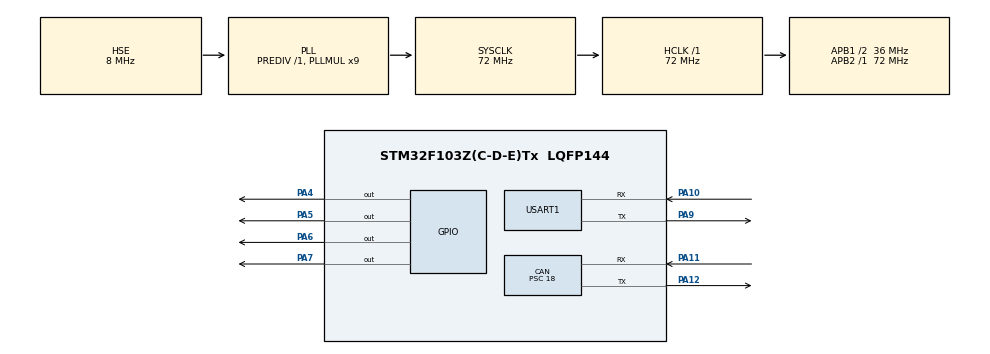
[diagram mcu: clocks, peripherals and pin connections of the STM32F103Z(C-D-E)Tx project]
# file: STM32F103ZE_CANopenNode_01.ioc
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CAN.BS1=CAN_BS1_13TQ
CAN.BS2=CAN_BS2_2TQ
CAN.CalculateBaudRate=125000
CAN.CalculateTimeBit=8000
CAN.CalculateTimeQuantum=500.0
CAN.Prescaler=18
Dma.Request0=USART1_RX
Dma.Request1=USART1_TX
Dma.USART1_RX.0.Direction=DMA_PERIPH_TO_MEMORY
Dma.USART1_RX.0.Instance=DMA1_Channel5
Dma.USART1_RX.0.MemDataAlignment=DMA_MDATAALIGN_BYTE
Dma.USART1_RX.0.MemInc=DMA_MINC_ENABLE
Dma.USART1_RX.0.Mode=DMA_NORMAL
Dma.USART1_RX.0.PeriphDataAlignment=DMA_PDATAALIGN_BYTE
Dma.USART1_RX.0.PeriphInc=DMA_PINC_DISABLE
Dma.USART1_RX.0.Priority=DMA_PRIORITY_LOW
Dma.USART1_TX.1.Direction=DMA_MEMORY_TO_PERIPH
Dma.USART1_TX.1.Instance=DMA1_Channel4
Dma.USART1_TX.1.MemDataAlignment=DMA_MDATAALIGN_BYTE
Dma.USART1_TX.1.MemInc=DMA_MINC_ENABLE
Dma.USART1_TX.1.Mode=DMA_NORMAL
Dma.USART1_TX.1.PeriphDataAlignment=DMA_PDATAALIGN_BYTE
Dma.USART1_TX.1.PeriphInc=DMA_PINC_DISABLE
Dma.USART1_TX.1.Priority=DMA_PRIORITY_LOW
Mcu.Family=STM32F1
Mcu.Name=STM32F103Z(C-D-E)Tx
Mcu.Package=LQFP144
NVIC.CAN1_RX1_IRQn=true\:0\:0\:false\:false\:true\:true\:true\:true
NVIC.CAN1_SCE_IRQn=true\:0\:0\:false\:false\:true\:true\:true\:true
NVIC.DMA1_Channel4_IRQn=true\:0\:0\:false\:false\:true\:false\:true\:true
NVIC.DMA1_Channel5_IRQn=true\:0\:0\:false\:false\:true\:false\:true\:true
NVIC.PriorityGroup=NVIC_PRIORITYGROUP_4
NVIC.TIM2_IRQn=true\:0\:0\:false\:false\:true\:true\:true\:true
NVIC.TIM3_IRQn=true\:15\:0\:false\:false\:true\:false\:true\:true
NVIC.TimeBase=TIM3_IRQn
NVIC.TimeBaseIP=TIM3
NVIC.USART1_IRQn=true\:0\:0\:false\:false\:true\:true\:true\:true
NVIC.USB_HP_CAN1_TX_IRQn=true\:0\:0\:false\:false\:true\:true\:true\:true
NVIC.USB_LP_CAN1_RX0_IRQn=true\:0\:0\:false\:false\:true\:true\:true\:true
OSC_IN.Mode=HSE-External-Oscillator
OSC_IN.Signal=RCC_OSC_IN
OSC_OUT.Mode=HSE-External-Oscillator
OSC_OUT.Signal=RCC_OSC_OUT
PA10.Mode=Asynchronous
PA10.Signal=USART1_RX
PA11.Mode=CAN_Activate
PA11.Signal=CAN_RX
PA12.Mode=CAN_Activate
PA12.Signal=CAN_TX
PA4.Signal=GPIO_Output
PA5.Signal=GPIO_Output
PA6.Signal=GPIO_Output
PA7.Signal=GPIO_Output
PA9.Mode=Asynchronous
PA9.Signal=USART1_TX
PC14-OSC32_IN.Mode=LSE-External-Oscillator
PC14-OSC32_IN.Signal=RCC_OSC32_IN
PC15-OSC32_OUT.Mode=LSE-External-Oscillator
PC15-OSC32_OUT.Signal=RCC_OSC32_OUT
ProjectManager.HeapSize=0x200
ProjectManager.StackSize=0x400
ProjectManager.TargetToolchain=STM32CubeIDE
RCC.AHBFreq_Value=72000000
RCC.APB1CLKDivider=RCC_HCLK_DIV2
RCC.APB1Freq_Value=36000000
RCC.APB1TimFreq_Value=72000000
RCC.APB2Freq_Value=72000000
RCC.APB2TimFreq_Value=72000000
RCC.HCLKFreq_Value=72000000
RCC.PLLMUL=RCC_PLL_MUL9
RCC.PLLSourceVirtual=RCC_PLLSOURCE_HSE
RCC.RTCClockSelection=RCC_RTCCLKSOURCE_LSE
RCC.SYSCLKFreq_VALUE=72000000
RCC.SYSCLKSource=RCC_SYSCLKSOURCE_PLLCLK
RCC.USBFreq_Value=72000000
TIM2.Period=1000-1
TIM2.Prescaler=72-1
USART1.VirtualMode=VM_ASYNC
VP_RTC_VS_RTC_Activate.Mode=RTC_Enabled
VP_SYS_VS_tim3.Mode=TIM3
VP_TIM2_VS_ClockSourceINT.Mode=Internal
board=custom

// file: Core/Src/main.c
/* USER CODE BEGIN Header */
/**
  ******************************************************************************
  * @file           : main.c
  * @brief          : Main program body
  ******************************************************************************
  * @attention
  *
  * Copyright (c) 2023 STMicroelectronics.
  * All rights reserved.
  *
  * This software is licensed under terms that can be found in the LICENSE file
  * in the root directory of this software component.
  * If no LICENSE file comes with this software, it is provided AS-IS.
  *
  ******************************************************************************
  */
/* USER CODE END Header */
#include "main.h"

/* USER CODE BEGIN Includes */
#include "dma_printf.h"
#include "dma_scanf.h"
#include "log.h"

#include "CO_app_STM32.h"
#include "OD.h"
/* USER CODE END Includes */

CAN_HandleTypeDef hcan;

RTC_HandleTypeDef hrtc;

TIM_HandleTypeDef htim2;

UART_HandleTypeDef huart1;
DMA_HandleTypeDef hdma_usart1_rx;
DMA_HandleTypeDef hdma_usart1_tx;

uint8_t flag;
extern OD_PERSIST_COMM_t OD_PERSIST_COMM;

void SystemClock_Config(void);
static void MX_GPIO_Init(void);
static void MX_DMA_Init(void);
static void MX_RTC_Init(void);
static void MX_USART1_UART_Init(void);
static void MX_TIM2_Init(void);
static void MX_CAN_Init(void);

/* USER CODE BEGIN 0 */
int __io_putchar(int ch)
{
  dma_printf_putc(ch&0xFF);
  return ch;
}

int __io_getchar(void)
{
  return dma_scanf_getc_blocking();
}

void HAL_UART_RxCpltCallback(UART_HandleTypeDef *huart){

}

void HAL_UART_TxCpltCallback(UART_HandleTypeDef *huart){
  dma_printf_send_it(huart);
}

/**
  * @brief  Period elapsed callback in non blocking mode
  * @note   This function is called  when TIM2 interrupt took place, inside
  * HAL_TIM_IRQHandler(). It makes a direct call to HAL_IncTick() to increment
  * a global variable "uwTick" used as application time base.
  * @param  htim : TIM handle
  * @retval None
  */

void loop(CANopenNodeSTM32 canOpenNodeSTM32)
{
	static uint32_t count;
	if (flag == 1)
	{
		flag = 0;
		log_info("Count = %lu\r", count++);
		HAL_GPIO_TogglePin(GPIOA, GPIO_PIN_4);
		OD_PERSIST_COMM.x6000_velocity = count;
	}
//	HAL_Delay(100);

	canopen_app_process();
	HAL_GPIO_WritePin(GPIOA, GPIO_PIN_6, !canOpenNodeSTM32.outStatusLEDGreen);
	HAL_GPIO_WritePin(GPIOA, GPIO_PIN_7, !canOpenNodeSTM32.outStatusLEDRed);
}
/* USER CODE END 0 */

int main(void)
{

  /* MCU Configuration--------------------------------------------------------*/

  /* Reset of all peripherals, Initializes the Flash interface and the Systick. */
  HAL_Init();

  /* Configure the system clock */
  SystemClock_Config();

  /* Initialize all configured peripherals */
  MX_GPIO_Init();
  MX_DMA_Init();
  MX_RTC_Init();
  MX_USART1_UART_Init();
  MX_TIM2_Init();
  MX_CAN_Init();
  /* USER CODE BEGIN 2 */
  setbuf(stdin, NULL);
  setbuf(stdout, NULL);
  setbuf(stderr, NULL);
  dma_printf_init(&huart1);
  dma_scanf_init(&huart1);
  HAL_TIM_Base_Start_IT(&htim2);

  CANopenNodeSTM32 canOpenNodeSTM32;
  canOpenNodeSTM32.CANHandle = &hcan;
  canOpenNodeSTM32.HWInitFunction = MX_CAN_Init;
  canOpenNodeSTM32.timerHandle = &htim2;
  canOpenNodeSTM32.desiredNodeID = 01;
  canOpenNodeSTM32.baudrate = 125;
  canopen_app_init(&canOpenNodeSTM32);

  /* USER CODE END 2 */

  /* Infinite loop */
  /* USER CODE BEGIN WHILE */
  while (1)
  {
	loop(canOpenNodeSTM32);
    /* USER CODE END WHILE */

  }
}

void SystemClock_Config(void)
{
  RCC_OscInitTypeDef RCC_OscInitStruct = {0};
  RCC_ClkInitTypeDef RCC_ClkInitStruct = {0};
  RCC_PeriphCLKInitTypeDef PeriphClkInit = {0};

  /** Initializes the RCC Oscillators according to the specified parameters
  * in the RCC_OscInitTypeDef structure.
  */
  RCC_OscInitStruct.OscillatorType = RCC_OSCILLATORTYPE_HSE|RCC_OSCILLATORTYPE_LSE;
  RCC_OscInitStruct.HSEState = RCC_HSE_ON;
  RCC_OscInitStruct.HSEPredivValue = RCC_HSE_PREDIV_DIV1;
  RCC_OscInitStruct.LSEState = RCC_LSE_ON;
  RCC_OscInitStruct.HSIState = RCC_HSI_ON;
  RCC_OscInitStruct.PLL.PLLState = RCC_PLL_ON;
  RCC_OscInitStruct.PLL.PLLSource = RCC_PLLSOURCE_HSE;
  RCC_OscInitStruct.PLL.PLLMUL = RCC_PLL_MUL9;
  if (HAL_RCC_OscConfig(&RCC_OscInitStruct) != HAL_OK)
  {
    Error_Handler();
  }

  /** Initializes the CPU, AHB and APB buses clocks
  */
  RCC_ClkInitStruct.ClockType = RCC_CLOCKTYPE_HCLK|RCC_CLOCKTYPE_SYSCLK
                              |RCC_CLOCKTYPE_PCLK1|RCC_CLOCKTYPE_PCLK2;
  RCC_ClkInitStruct.SYSCLKSource = RCC_SYSCLKSOURCE_PLLCLK;
  RCC_ClkInitStruct.AHBCLKDivider = RCC_SYSCLK_DIV1;
  RCC_ClkInitStruct.APB1CLKDivider = RCC_HCLK_DIV2;
  RCC_ClkInitStruct.APB2CLKDivider = RCC_HCLK_DIV1;

  if (HAL_RCC_ClockConfig(&RCC_ClkInitStruct, FLASH_LATENCY_2) != HAL_OK)
  {
    Error_Handler();
  }
  PeriphClkInit.PeriphClockSelection = RCC_PERIPHCLK_RTC;
  PeriphClkInit.RTCClockSelection = RCC_RTCCLKSOURCE_LSE;
  if (HAL_RCCEx_PeriphCLKConfig(&PeriphClkInit) != HAL_OK)
  {
    Error_Handler();
  }
}

static void MX_CAN_Init(void)
{

  hcan.Instance = CAN1;
  hcan.Init.Prescaler = 18;
  hcan.Init.Mode = CAN_MODE_NORMAL;
  hcan.Init.SyncJumpWidth = CAN_SJW_1TQ;
  hcan.Init.TimeSeg1 = CAN_BS1_13TQ;
  hcan.Init.TimeSeg2 = CAN_BS2_2TQ;
  hcan.Init.TimeTriggeredMode = DISABLE;
  hcan.Init.AutoBusOff = DISABLE;
  hcan.Init.AutoWakeUp = DISABLE;
  hcan.Init.AutoRetransmission = DISABLE;
  hcan.Init.ReceiveFifoLocked = DISABLE;
  hcan.Init.TransmitFifoPriority = DISABLE;
  if (HAL_CAN_Init(&hcan) != HAL_OK)
  {
    Error_Handler();
  }

}

static void MX_RTC_Init(void)
{

  /** Initialize RTC Only
  */
  hrtc.Instance = RTC;
  hrtc.Init.AsynchPrediv = RTC_AUTO_1_SECOND;
  hrtc.Init.OutPut = RTC_OUTPUTSOURCE_ALARM;
  if (HAL_RTC_Init(&hrtc) != HAL_OK)
  {
    Error_Handler();
  }

}

static void MX_TIM2_Init(void)
{

  TIM_ClockConfigTypeDef sClockSourceConfig = {0};
  TIM_MasterConfigTypeDef sMasterConfig = {0};

  htim2.Instance = TIM2;
  htim2.Init.Prescaler = 72-1;
  htim2.Init.CounterMode = TIM_COUNTERMODE_UP;
  htim2.Init.Period = 1000-1;
  htim2.Init.ClockDivision = TIM_CLOCKDIVISION_DIV1;
  htim2.Init.AutoReloadPreload = TIM_AUTORELOAD_PRELOAD_DISABLE;
  if (HAL_TIM_Base_Init(&htim2) != HAL_OK)
  {
    Error_Handler();
  }
  sClockSourceConfig.ClockSource = TIM_CLOCKSOURCE_INTERNAL;
  if (HAL_TIM_ConfigClockSource(&htim2, &sClockSourceConfig) != HAL_OK)
  {
    Error_Handler();
  }
  sMasterConfig.MasterOutputTrigger = TIM_TRGO_RESET;
  sMasterConfig.MasterSlaveMode = TIM_MASTERSLAVEMODE_DISABLE;
  if (HAL_TIMEx_MasterConfigSynchronization(&htim2, &sMasterConfig) != HAL_OK)
  {
    Error_Handler();
  }

}

static void MX_USART1_UART_Init(void)
{

  huart1.Instance = USART1;
  huart1.Init.BaudRate = 115200;
  huart1.Init.WordLength = UART_WORDLENGTH_8B;
  huart1.Init.StopBits = UART_STOPBITS_1;
  huart1.Init.Parity = UART_PARITY_NONE;
  huart1.Init.Mode = UART_MODE_TX_RX;
  huart1.Init.HwFlowCtl = UART_HWCONTROL_NONE;
  huart1.Init.OverSampling = UART_OVERSAMPLING_16;
  if (HAL_UART_Init(&huart1) != HAL_OK)
  {
    Error_Handler();
  }

}

static void MX_DMA_Init(void)
{

  /* DMA controller clock enable */
  __HAL_RCC_DMA1_CLK_ENABLE();

  /* DMA interrupt init */
  /* DMA1_Channel4_IRQn interrupt configuration */
  HAL_NVIC_SetPriority(DMA1_Channel4_IRQn, 0, 0);
  HAL_NVIC_EnableIRQ(DMA1_Channel4_IRQn);
  /* DMA1_Channel5_IRQn interrupt configuration */
  HAL_NVIC_SetPriority(DMA1_Channel5_IRQn, 0, 0);
  HAL_NVIC_EnableIRQ(DMA1_Channel5_IRQn);

}

static void MX_GPIO_Init(void)
{
  GPIO_InitTypeDef GPIO_InitStruct = {0};

  /* GPIO Ports Clock Enable */
  __HAL_RCC_GPIOC_CLK_ENABLE();
  __HAL_RCC_GPIOA_CLK_ENABLE();

  /*Configure GPIO pin Output Level */
  HAL_GPIO_WritePin(GPIOA, GPIO_PIN_4|GPIO_PIN_5|GPIO_PIN_6|GPIO_PIN_7, GPIO_PIN_RESET);

  /*Configure GPIO pins : PA4 PA5 PA6 PA7 */
  GPIO_InitStruct.Pin = GPIO_PIN_4|GPIO_PIN_5|GPIO_PIN_6|GPIO_PIN_7;
  GPIO_InitStruct.Mode = GPIO_MODE_OUTPUT_PP;
  GPIO_InitStruct.Pull = GPIO_NOPULL;
  GPIO_InitStruct.Speed = GPIO_SPEED_FREQ_LOW;
  HAL_GPIO_Init(GPIOA, &GPIO_InitStruct);

}

void HAL_TIM_PeriodElapsedCallback(TIM_HandleTypeDef *htim)
{
  /* USER CODE BEGIN Callback 0 */
  static uint32_t c;
  /* USER CODE END Callback 0 */
  if (htim->Instance == TIM3) {
    HAL_IncTick();
  }
  /* USER CODE BEGIN Callback 1 */
  if (htim->Instance == TIM2) {
	  if (c++ > 500)
	  {
		flag = 1;
		c = 0;
		HAL_GPIO_TogglePin(GPIOA, GPIO_PIN_5);
	  }
  }

  // Handle CANOpen app interrupts
    if (htim == canopenNodeSTM32->timerHandle) {
        canopen_app_interrupt();
    }
  /* USER CODE END Callback 1 */
}

void Error_Handler(void)
{
  __disable_irq();
  while (1)
  {
  }
}
